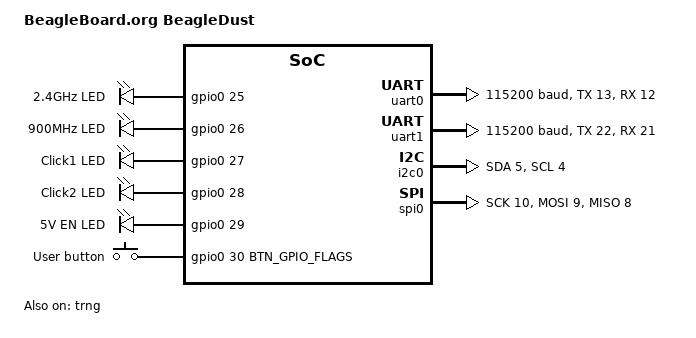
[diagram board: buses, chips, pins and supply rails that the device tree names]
/*
 * Copyright (c) 2019 Brett Witherspoon
 * Copyright (c) 2019 Jason Kridner
 *
 * SPDX-License-Identifier: Apache-2.0
 */

/dts-v1/;

#include <ti/cc1352r.dtsi>

#define BTN_GPIO_FLAGS (GPIO_INT_ACTIVE_LOW | GPIO_PUD_PULL_UP)

/ {
	model = "BeagleBoard.org BeagleDust";
	compatible = "beagleboard.org,beagledust";

	aliases {
		sw0 = &btn0;
		led0 = &led_click1;
		led1 = &led_click2;
	};

	chosen {
		zephyr,sram = &sram0;
		zephyr,flash = &flash0;
		zephyr,console = &uart0;
		zephyr,shell-uart = &uart0;
	};

	leds {
		compatible = "gpio-leds";
		led_2GHz: led_0 {
			gpios = <&gpio0 25 0>;
			label = "2.4GHz LED";
		};
		led_900MHz: led_1 {
			gpios = <&gpio0 26 0>;
			label = "900MHz LED";
		};
		led_click1: led_2 {
			gpios = <&gpio0 27 0>;
			label = "Click1 LED";
		};
		led_click2: led_3 {
			gpios = <&gpio0 28 0>;
			label = "Click2 LED";
		};
		led_5V_EN: led_4 {
			gpios = <&gpio0 29 0>;
			label = "5V EN LED";
		};
	};

	keys {
		compatible = "gpio-keys";
		btn0: btn_0 {
			gpios = <&gpio0 30 BTN_GPIO_FLAGS>;
			label = "User button";
		};
	};
};

&trng {
	status = "okay";
};

&gpio0 {
	status = "okay";
};

// TODO: verify RX/TX perspective
// TODO: may need to move for bootloader
// On the prototypes, this is shared with the USB header
&uart0 {
	status = "okay";
	current-speed = <115200>;
	tx-pin = <13>;
	rx-pin = <12>;
};

// TODO: verify RX/TX perspective
&uart1 {
	status = "okay";
	current-speed = <115200>;
	tx-pin = <22>;
	rx-pin = <21>;
};

&i2c0 {
	status = "okay";
	scl-pin = <4>;
	sda-pin = <5>;
};

// TODO: Figure out how to add a second CS
&spi0 {
	status = "okay";
	sck-pin = <10>;
	mosi-pin = <9>;
	miso-pin = <8>;
	cs-pin = <15>;
	cs-gpios = <&gpio0 15 0>;
};

// TODO: Add PWMs (timers?)
// TODO: Add analog pins
// TODO: Add GPIOs for reset and interrupt
